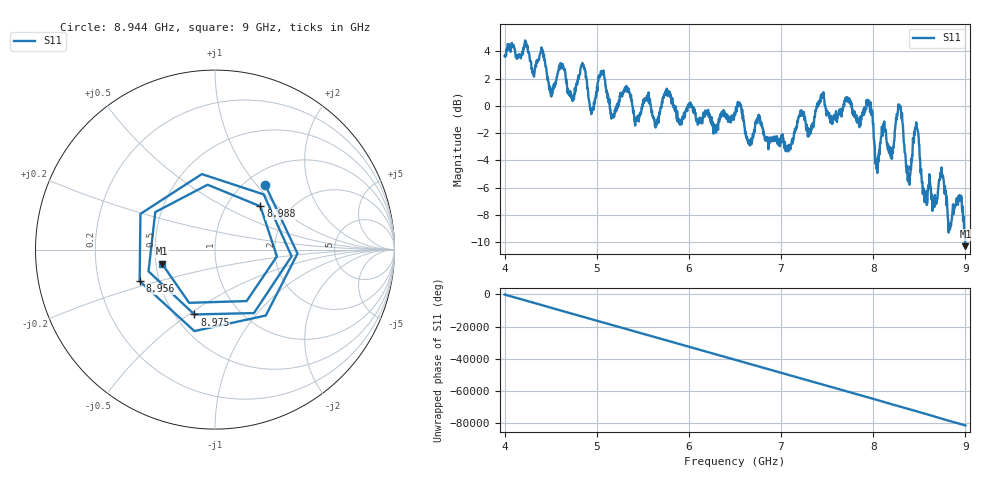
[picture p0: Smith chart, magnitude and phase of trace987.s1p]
! Created with skrf 1.8.0 (http://scikit-rf.org).
# Hz S RI R 50.0
!freq ReS11 ImS11
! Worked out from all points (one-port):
!   1601 points, 4 GHz to 9 GHz, reference 50 ohm
!   lowest |S11| = -10.3 dB at 9 GHz (marker M1), VSWR 1.88, Z = 26.9 - j4.68 ohm
!   |S11| at or under -10 dB: 8.998656 GHz to end of sweep
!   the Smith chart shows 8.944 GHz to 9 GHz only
!   S11 on the Smith chart (normalised r, x): 8.944 GHz: 1.23, +1.11; 8.956 GHz: 0.39, -0.17; 8.975 GHz: 0.62, -0.53; 8.988 GHz: 1.42, +0.78; 9 GHz: 0.54, -0.09
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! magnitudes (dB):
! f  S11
! 4 GHz  3.6
! 4.403 GHz  4.1
! 4.506 GHz  0.8
! 4.625 GHz  3.0
! 4.728 GHz  0.6
! 4.847 GHz  2.9
! 4.941 GHz  -0.6
! 5.053 GHz  2.4
! 5.169 GHz  -0.8
! 5.25 GHz  0.7
! 5.875 GHz  -0.8
! 6.5 GHz  -0.7
! 7.125 GHz  -2.5
! 7.444 GHz  0.7
! 7.75 GHz  0.3
! 7.966 GHz  -0.5
! 8.044 GHz  -4.9
! 8.288 GHz  -0.1
! 8.375 GHz  -5.5
! 8.469 GHz  -1.3
! 8.562 GHz  -6.6
! 8.741 GHz  -4.5
! 8.834 GHz  -9.0
! 8.944 GHz  -6.8
! 8.956 GHz  -6.8
! 8.975 GHz  -8.4
! 8.988 GHz  -9.1
! 9 GHz  -10.3
